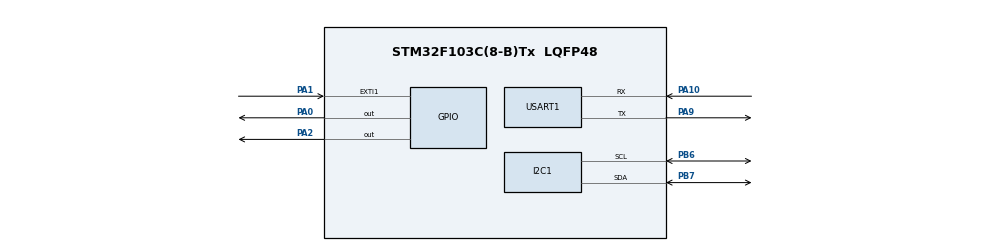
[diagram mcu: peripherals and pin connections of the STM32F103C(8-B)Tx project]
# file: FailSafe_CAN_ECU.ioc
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Dma.Request0=USART1_TX
Dma.USART1_TX.0.Direction=DMA_MEMORY_TO_PERIPH
Dma.USART1_TX.0.Instance=DMA1_Channel4
Dma.USART1_TX.0.MemDataAlignment=DMA_MDATAALIGN_BYTE
Dma.USART1_TX.0.MemInc=DMA_MINC_ENABLE
Dma.USART1_TX.0.Mode=DMA_NORMAL
Dma.USART1_TX.0.PeriphDataAlignment=DMA_PDATAALIGN_BYTE
Dma.USART1_TX.0.PeriphInc=DMA_PINC_DISABLE
Dma.USART1_TX.0.Priority=DMA_PRIORITY_LOW
IWDG.Prescaler=IWDG_PRESCALER_32
IWDG.Reload=1250
Mcu.Family=STM32F1
Mcu.Name=STM32F103C(8-B)Tx
Mcu.Package=LQFP48
NVIC.DMA1_Channel4_IRQn=true\:0\:0\:false\:false\:true\:false\:true\:true
NVIC.EXTI1_IRQn=true\:0\:0\:false\:false\:true\:true\:true\:true
NVIC.PriorityGroup=NVIC_PRIORITYGROUP_4
NVIC.TIM2_IRQn=true\:0\:0\:false\:false\:true\:true\:true\:true
NVIC.USART1_IRQn=true\:0\:0\:false\:false\:true\:true\:true\:true
PA0-WKUP.Signal=GPIO_Output
PA1.GPIO_ModeDefaultEXTI=GPIO_MODE_IT_FALLING
PA1.GPIO_PuPd=GPIO_PULLUP
PA1.Signal=GPXTI1
PA10.Mode=Asynchronous
PA10.Signal=USART1_RX
PA13.Mode=Serial_Wire
PA13.Signal=SYS_JTMS-SWDIO
PA14.Mode=Serial_Wire
PA14.Signal=SYS_JTCK-SWCLK
PA2.Signal=GPIO_Output
PA9.Mode=Asynchronous
PA9.Signal=USART1_TX
PB6.Mode=I2C
PB6.Signal=I2C1_SCL
PB7.Mode=I2C
PB7.Signal=I2C1_SDA
ProjectManager.HeapSize=0x200
ProjectManager.StackSize=0x400
ProjectManager.TargetToolchain=STM32CubeIDE
RCC.APB1Freq_Value=8000000
RCC.APB2Freq_Value=8000000
TIM2.Period=9999
TIM2.Prescaler=79
USART1.VirtualMode=VM_ASYNC
VP_IWDG_VS_IWDG.Mode=IWDG_Activate
VP_TIM2_VS_ClockSourceINT.Mode=Internal
board=custom

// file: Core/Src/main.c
/* USER CODE BEGIN Header */
/**
  ******************************************************************************
  * @file           : main.c
  * @brief          : Main program body
  ******************************************************************************
  * @attention
  *
  * Copyright (c) 2026 STMicroelectronics.
  * All rights reserved.
  *
  * This software is licensed under terms that can be found in the LICENSE file
  * in the root directory of this software component.
  * If no LICENSE file comes with this software, it is provided AS-IS.
  *
  ******************************************************************************
  */
/* USER CODE END Header */
#include "main.h"

/* USER CODE BEGIN Includes */
#include <string.h>
#include <stdio.h>
#include "fsm.h"
/* USER CODE END Includes */

/* USER CODE BEGIN PD */
#define TX_SIZE 1000
#define BMP180_ADDR 0xEE
/* USER CODE END PD */

I2C_HandleTypeDef hi2c1;

IWDG_HandleTypeDef hiwdg;

TIM_HandleTypeDef htim2;

UART_HandleTypeDef huart1;
DMA_HandleTypeDef hdma_usart1_tx;

/* USER CODE BEGIN PV */
uint8_t rx_byte = 0;
uint8_t rx_buf[100];
uint8_t rx_index = 0;
volatile uint8_t line_ready = 0;

uint8_t tx_data[1000];

uint32_t t_start, t_end, elapsed_cycles, t_ret;
volatile uint32_t loop_count = 0;

volatile uint8_t tx_done;
volatile uint32_t t_done;

volatile HAL_StatusTypeDef  bmp180_ready_status;
volatile uint32_t bmp180_i2c_error;
uint8_t bmp180_chip_id = 0xFF;
volatile HAL_StatusTypeDef bmp180_read_status;
uint8_t bmp180_cmd = 0x2E;
volatile HAL_StatusTypeDef bmp180_write_status;

uint8_t bmp180_ut_data[2] = {0xFF, 0xFF};   // 센티널 초기값
uint16_t bmp180_raw_temp = 0;
volatile HAL_StatusTypeDef bmp180_ut_status = HAL_BUSY;

uint8_t  bmp180_calib_raw[22];
volatile HAL_StatusTypeDef bmp180_calib_status = HAL_BUSY;

int16_t  AC1, AC2, AC3, B1, B2, MB, MC, MD;
uint16_t AC4, AC5, AC6;

volatile int32_t bmp180_X1, bmp180_X2, bmp180_B5;
volatile int32_t bmp180_temp_x10;

/* USER CODE END PV */

void SystemClock_Config(void);
static void MX_GPIO_Init(void);
static void MX_DMA_Init(void);
static void MX_TIM2_Init(void);
static void MX_USART1_UART_Init(void);
static void MX_I2C1_Init(void);
static void MX_IWDG_Init(void);

int main(void)
{

  /* MCU Configuration--------------------------------------------------------*/

  /* Reset of all peripherals, Initializes the Flash interface and the Systick. */
  HAL_Init();

  /* Configure the system clock */
  SystemClock_Config();

  /* Initialize all configured peripherals */
  MX_GPIO_Init();
  MX_DMA_Init();
  MX_TIM2_Init();
  MX_USART1_UART_Init();
  MX_I2C1_Init();
  MX_IWDG_Init();
  /* USER CODE BEGIN 2 */
#if 0
  HAL_TIM_Base_Start_IT(&htim2);

  bmp180_ready_status = HAL_I2C_IsDeviceReady(&hi2c1, BMP180_ADDR, 10, 1000);
  if(bmp180_ready_status!=HAL_OK){
	  bmp180_i2c_error = hi2c1.ErrorCode;
  }
  bmp180_read_status = HAL_I2C_Mem_Read(&hi2c1, BMP180_ADDR, 0xD0, I2C_MEMADD_SIZE_8BIT,
		  &bmp180_chip_id, 1, 1000);

  if(bmp180_read_status == HAL_OK && bmp180_chip_id == 0x55){
	  __NOP();
  }
  else{
	  bmp180_i2c_error = hi2c1.ErrorCode;
  }
  bmp180_write_status = HAL_I2C_Mem_Write(&hi2c1, BMP180_ADDR, 0xF4, I2C_MEMADD_SIZE_8BIT, &bmp180_cmd, 1, 1000);
  if(bmp180_write_status!=HAL_OK){
	  bmp180_i2c_error = hi2c1.ErrorCode;
  }
  HAL_Delay(5);

  bmp180_ut_status = HAL_I2C_Mem_Read(&hi2c1, BMP180_ADDR, 0xF6, I2C_MEMADD_SIZE_8BIT,
                                      bmp180_ut_data, 2, 1000);
  if (bmp180_ut_status == HAL_OK) {
      bmp180_raw_temp = ((uint16_t)bmp180_ut_data[0] << 8) | bmp180_ut_data[1];
  } else {
      bmp180_i2c_error = hi2c1.ErrorCode;
  }

  bmp180_calib_status = HAL_I2C_Mem_Read(&hi2c1, BMP180_ADDR, 0xAA, I2C_MEMADD_SIZE_8BIT,
                                         bmp180_calib_raw, 22, 1000);
  if (bmp180_calib_status == HAL_OK) {
      uint8_t *c = bmp180_calib_raw;
      AC1 = (int16_t) ((c[0]  << 8) | c[1]);
      AC2 = (int16_t) ((c[2]  << 8) | c[3]);
      AC3 = (int16_t) ((c[4]  << 8) | c[5]);
      AC4 = (uint16_t)((c[6]  << 8) | c[7]);
      AC5 = (uint16_t)((c[8]  << 8) | c[9]);
      AC6 = (uint16_t)((c[10] << 8) | c[11]);
      B1  = (int16_t) ((c[12] << 8) | c[13]);
      B2  = (int16_t) ((c[14] << 8) | c[15]);
      MB  = (int16_t) ((c[16] << 8) | c[17]);
      MC  = (int16_t) ((c[18] << 8) | c[19]);
      MD  = (int16_t) ((c[20] << 8) | c[21]);

      /* --- 온도 계산 (데이터시트 공식) --- */
      bmp180_X1 = (((int32_t)bmp180_raw_temp - (int32_t)AC6) * (int32_t)AC5) >> 15;
      bmp180_X2 = ((int32_t)MC << 11) / (bmp180_X1 + (int32_t)MD);
      bmp180_B5 = bmp180_X1 + bmp180_X2;
      bmp180_temp_x10 = (bmp180_B5 + 8) >> 4;     // 0.1°C 단위
  } else {
      bmp180_i2c_error = hi2c1.ErrorCode;
  }

  char tmsg[64];
  int tlen = snprintf(tmsg, sizeof(tmsg), "Temperature: %ld.%ld C\r\n",
                      (long)(bmp180_temp_x10 / 10), (long)(bmp180_temp_x10 % 10));
  HAL_UART_Transmit(&huart1, (uint8_t *)tmsg, tlen, 100);

  const char *teststr = "Hello STM32\r\n";
  HAL_UART_Transmit(&huart1, (uint8_t *)teststr, strlen(teststr), 100);

  for(int i=0; i<TX_SIZE; i++){
	tx_data[i] = 'A' + i%26;
  }

  CoreDebug->DEMCR |= CoreDebug_DEMCR_TRCENA_Msk;   // DWT 블록 켜기
  DWT->CYCCNT = 0;                                  // 카운터 초기화
  DWT->CTRL |= DWT_CTRL_CYCCNTENA_Msk;              // 카운터 시작

  HAL_UART_Receive_IT(&huart1, &rx_byte, 1);
#endif
  FSM_Init();
  /* USER CODE END 2 */

  /* Infinite loop */
  while (1)
  {

    /* USER CODE BEGIN 3 */
	FSM_Run();
#if 0
	loop_count++;
	if(line_ready==1){
		HAL_UART_Transmit(&huart1, (uint8_t *)"> ", strlen("> "), 100);
		HAL_UART_Transmit(&huart1, (uint8_t *)rx_buf, rx_index, 100);
		HAL_UART_Transmit(&huart1, (uint8_t *)"\r\n", strlen("\r\n"), 100);

		if(strcmp((char *)rx_buf,"led on")==0){
			HAL_GPIO_WritePin(GPIOA, GPIO_PIN_0, GPIO_PIN_SET);
		}
		else if(strcmp((char *)rx_buf,"led off")==0){
			HAL_GPIO_WritePin(GPIOA, GPIO_PIN_0, GPIO_PIN_RESET);
		}
		else if(strcmp((char *)rx_buf,"status")==0){
			uint8_t temp = HAL_GPIO_ReadPin(GPIOA, GPIO_PIN_0);
			if(temp == 1){
				HAL_UART_Transmit(&huart1, (uint8_t *)"LED IS ON\r\n", strlen("LED IS ON\r\n"), 100);
			}
			else{
				HAL_UART_Transmit(&huart1, (uint8_t *)"LED IS OFF\r\n", strlen("LED IS OFF\r\n"), 100);
			}
		}
		else if(strcmp((char *)rx_buf,"send")==0){
			t_start = DWT->CYCCNT;
			uint32_t loop_count_start = loop_count;
			HAL_UART_Transmit(&huart1, tx_data, TX_SIZE, 500);
			t_end = DWT->CYCCNT;
			uint32_t loop_count_end = loop_count;
			elapsed_cycles = t_end - t_start;
			char msg[64];
			int len = sprintf(msg, "cycles = %lu, us = %lu, loopcount = %lu\r\n", (unsigned long)elapsed_cycles,
			        (unsigned long)(elapsed_cycles / 8), (unsigned long)(loop_count_end-loop_count_start));
			HAL_UART_Transmit(&huart1, (uint8_t *)msg, len, 100);
		}
		else if(strcmp((char *)rx_buf,"send it")==0){
			tx_done = 0;
			t_start = DWT->CYCCNT;
			uint32_t loop_count_start = loop_count;
			HAL_StatusTypeDef ret = HAL_UART_Transmit_IT(&huart1, tx_data, TX_SIZE);
			t_ret = DWT->CYCCNT;
			if(ret != HAL_OK){
				HAL_UART_Transmit(&huart1, (uint8_t *)"busy/error\r\n", strlen("busy/error\r\n"), 100);
			}
			else{
				while(tx_done == 0){ loop_count++; }
				uint32_t loop_count_end = loop_count;
				char msg[100];
				uint32_t ret_cycles = t_ret - t_start;
				uint32_t done_cycles = t_done - t_start;
				int len = sprintf(msg, " it ret = %lu, done = %lu, loop = %lu, us = %lu\r\n", (unsigned long)ret_cycles,
						(unsigned long)(done_cycles), (unsigned long)(loop_count_end-loop_count_start),
						(unsigned long)(done_cycles / 8));
				HAL_UART_Transmit(&huart1, (uint8_t *)msg, len, 100);
			}
		}
		else if(strcmp((char *)rx_buf,"send dma")==0){
			tx_done = 0;
			t_start = DWT->CYCCNT;
			uint32_t loop_count_start = loop_count;
			HAL_StatusTypeDef ret = HAL_UART_Transmit_DMA(&huart1, tx_data, TX_SIZE);
			t_ret = DWT->CYCCNT;
			if(ret != HAL_OK){
				HAL_UART_Transmit(&huart1, (uint8_t *)"busy/error\r\n", strlen("busy/error\r\n"), 100);
			}
			else{
				while(tx_done == 0){ loop_count++; }
				uint32_t loop_count_end = loop_count;
				char msg[100];
				uint32_t ret_cycles = t_ret - t_start;
				uint32_t done_cycles = t_done - t_start;
				int len = sprintf(msg, " DMA ret = %lu, done = %lu, loop = %lu, us = %lu\r\n", (unsigned long)ret_cycles,
						(unsigned long)(done_cycles), (unsigned long)(loop_count_end-loop_count_start),
						(unsigned long)(done_cycles / 8));
				HAL_UART_Transmit(&huart1, (uint8_t *)msg, len, 100);
			}
		}
		else if(strcmp((char *)rx_buf,"send idle")==0){
			t_start = DWT->CYCCNT;
			uint32_t loop_count_start = loop_count;

			while(DWT->CYCCNT - t_start < 690500){ loop_count++; }
			uint32_t loop_count_end = loop_count;
			char msg[100];
			int len = sprintf(msg, " idle  loop = %lu\r\n", (unsigned long)(loop_count_end-loop_count_start));
			HAL_UART_Transmit(&huart1, (uint8_t *)msg, len, 100);
		}
		else{
			HAL_UART_Transmit(&huart1, (uint8_t *)"unknown\r\n", strlen("unknown\r\n"), 100);
		}
		rx_index = 0;
		line_ready = 0;
	}
#endif

  }
  /* USER CODE END 3 */
}

void SystemClock_Config(void)
{
  RCC_OscInitTypeDef RCC_OscInitStruct = {0};
  RCC_ClkInitTypeDef RCC_ClkInitStruct = {0};

  /** Initializes the RCC Oscillators according to the specified parameters
  * in the RCC_OscInitTypeDef structure.
  */
  RCC_OscInitStruct.OscillatorType = RCC_OSCILLATORTYPE_HSI|RCC_OSCILLATORTYPE_LSI;
  RCC_OscInitStruct.HSIState = RCC_HSI_ON;
  RCC_OscInitStruct.HSICalibrationValue = RCC_HSICALIBRATION_DEFAULT;
  RCC_OscInitStruct.LSIState = RCC_LSI_ON;
  RCC_OscInitStruct.PLL.PLLState = RCC_PLL_NONE;
  if (HAL_RCC_OscConfig(&RCC_OscInitStruct) != HAL_OK)
  {
    Error_Handler();
  }

  /** Initializes the CPU, AHB and APB buses clocks
  */
  RCC_ClkInitStruct.ClockType = RCC_CLOCKTYPE_HCLK|RCC_CLOCKTYPE_SYSCLK
                              |RCC_CLOCKTYPE_PCLK1|RCC_CLOCKTYPE_PCLK2;
  RCC_ClkInitStruct.SYSCLKSource = RCC_SYSCLKSOURCE_HSI;
  RCC_ClkInitStruct.AHBCLKDivider = RCC_SYSCLK_DIV1;
  RCC_ClkInitStruct.APB1CLKDivider = RCC_HCLK_DIV1;
  RCC_ClkInitStruct.APB2CLKDivider = RCC_HCLK_DIV1;

  if (HAL_RCC_ClockConfig(&RCC_ClkInitStruct, FLASH_LATENCY_0) != HAL_OK)
  {
    Error_Handler();
  }
}

static void MX_I2C1_Init(void)
{

  hi2c1.Instance = I2C1;
  hi2c1.Init.ClockSpeed = 100000;
  hi2c1.Init.DutyCycle = I2C_DUTYCYCLE_2;
  hi2c1.Init.OwnAddress1 = 0;
  hi2c1.Init.AddressingMode = I2C_ADDRESSINGMODE_7BIT;
  hi2c1.Init.DualAddressMode = I2C_DUALADDRESS_DISABLE;
  hi2c1.Init.OwnAddress2 = 0;
  hi2c1.Init.GeneralCallMode = I2C_GENERALCALL_DISABLE;
  hi2c1.Init.NoStretchMode = I2C_NOSTRETCH_DISABLE;
  if (HAL_I2C_Init(&hi2c1) != HAL_OK)
  {
    Error_Handler();
  }

}

static void MX_IWDG_Init(void)
{

  hiwdg.Instance = IWDG;
  hiwdg.Init.Prescaler = IWDG_PRESCALER_32;
  hiwdg.Init.Reload = 1250;
  if (HAL_IWDG_Init(&hiwdg) != HAL_OK)
  {
    Error_Handler();
  }

}

static void MX_TIM2_Init(void)
{

  TIM_ClockConfigTypeDef sClockSourceConfig = {0};
  TIM_MasterConfigTypeDef sMasterConfig = {0};

  htim2.Instance = TIM2;
  htim2.Init.Prescaler = 79;
  htim2.Init.CounterMode = TIM_COUNTERMODE_UP;
  htim2.Init.Period = 9999;
  htim2.Init.ClockDivision = TIM_CLOCKDIVISION_DIV1;
  htim2.Init.AutoReloadPreload = TIM_AUTORELOAD_PRELOAD_DISABLE;
  if (HAL_TIM_Base_Init(&htim2) != HAL_OK)
  {
    Error_Handler();
  }
  sClockSourceConfig.ClockSource = TIM_CLOCKSOURCE_INTERNAL;
  if (HAL_TIM_ConfigClockSource(&htim2, &sClockSourceConfig) != HAL_OK)
  {
    Error_Handler();
  }
  sMasterConfig.MasterOutputTrigger = TIM_TRGO_RESET;
  sMasterConfig.MasterSlaveMode = TIM_MASTERSLAVEMODE_DISABLE;
  if (HAL_TIMEx_MasterConfigSynchronization(&htim2, &sMasterConfig) != HAL_OK)
  {
    Error_Handler();
  }

}

static void MX_USART1_UART_Init(void)
{

  huart1.Instance = USART1;
  huart1.Init.BaudRate = 115200;
  huart1.Init.WordLength = UART_WORDLENGTH_8B;
  huart1.Init.StopBits = UART_STOPBITS_1;
  huart1.Init.Parity = UART_PARITY_NONE;
  huart1.Init.Mode = UART_MODE_TX_RX;
  huart1.Init.HwFlowCtl = UART_HWCONTROL_NONE;
  huart1.Init.OverSampling = UART_OVERSAMPLING_16;
  if (HAL_UART_Init(&huart1) != HAL_OK)
  {
    Error_Handler();
  }

}

static void MX_DMA_Init(void)
{

  /* DMA controller clock enable */
  __HAL_RCC_DMA1_CLK_ENABLE();

  /* DMA interrupt init */
  /* DMA1_Channel4_IRQn interrupt configuration */
  HAL_NVIC_SetPriority(DMA1_Channel4_IRQn, 0, 0);
  HAL_NVIC_EnableIRQ(DMA1_Channel4_IRQn);

}

static void MX_GPIO_Init(void)
{
  GPIO_InitTypeDef GPIO_InitStruct = {0};

  /* GPIO Ports Clock Enable */
  __HAL_RCC_GPIOA_CLK_ENABLE();
  __HAL_RCC_GPIOB_CLK_ENABLE();

  /*Configure GPIO pin Output Level */
  HAL_GPIO_WritePin(GPIOA, GPIO_PIN_0|GPIO_PIN_2, GPIO_PIN_RESET);

  /*Configure GPIO pins : PA0 PA2 */
  GPIO_InitStruct.Pin = GPIO_PIN_0|GPIO_PIN_2;
  GPIO_InitStruct.Mode = GPIO_MODE_OUTPUT_PP;
  GPIO_InitStruct.Pull = GPIO_NOPULL;
  GPIO_InitStruct.Speed = GPIO_SPEED_FREQ_LOW;
  HAL_GPIO_Init(GPIOA, &GPIO_InitStruct);

  /*Configure GPIO pin : PA1 */
  GPIO_InitStruct.Pin = GPIO_PIN_1;
  GPIO_InitStruct.Mode = GPIO_MODE_IT_FALLING;
  GPIO_InitStruct.Pull = GPIO_PULLUP;
  HAL_GPIO_Init(GPIOA, &GPIO_InitStruct);

  /* EXTI interrupt init*/
  HAL_NVIC_SetPriority(EXTI1_IRQn, 0, 0);
  HAL_NVIC_EnableIRQ(EXTI1_IRQn);

}

/* USER CODE BEGIN 4 */
volatile uint32_t exti_count = 0;

#if 0
void HAL_GPIO_EXTI_Callback(uint16_t GPIO_Pin){
	static uint32_t last_tick = 0;
	if(GPIO_Pin == GPIO_PIN_1){
		uint32_t now = HAL_GetTick();
		if (now - last_tick > 50)            // 채터링 방지 (50ms 이내 재입력 무시)
		{
			last_tick = now;
			exti_count++;
			HAL_GPIO_TogglePin(GPIOA, GPIO_PIN_0);   // LED 상태 변경
		}
	}
}
#endif

volatile uint32_t tim_count = 0;   // 확인용

void HAL_TIM_PeriodElapsedCallback(TIM_HandleTypeDef *htim)
{
    if (htim->Instance == TIM2)
    {
        tim_count++;
        HAL_GPIO_TogglePin(GPIOA, GPIO_PIN_2);
    }
}

#if 0
void HAL_UART_RxCpltCallback(UART_HandleTypeDef *huart){
	if(huart->Instance == USART1){
		HAL_UART_Transmit(&huart1, &rx_byte, 1, 100);
		HAL_UART_Receive_IT(&huart1, &rx_byte, 1);
		if(rx_byte == '\n' || rx_byte == '\r'){
			if(rx_index > 0){
				rx_buf[rx_index] = '\0';
				line_ready = 1;
			}
		}
		else{
			if(rx_index < 99){
				rx_buf[rx_index] = rx_byte;
				rx_index++;
			}
		}
	}
}
#endif

#if 0
void HAL_UART_TxCpltCallback(UART_HandleTypeDef *huart){
	if(huart->Instance == USART1){
		t_done = DWT->CYCCNT;
		tx_done = 1;
	}
}
#endif

/* USER CODE END 4 */

void Error_Handler(void)
{
  __disable_irq();
  while (1)
  {
  }
}
